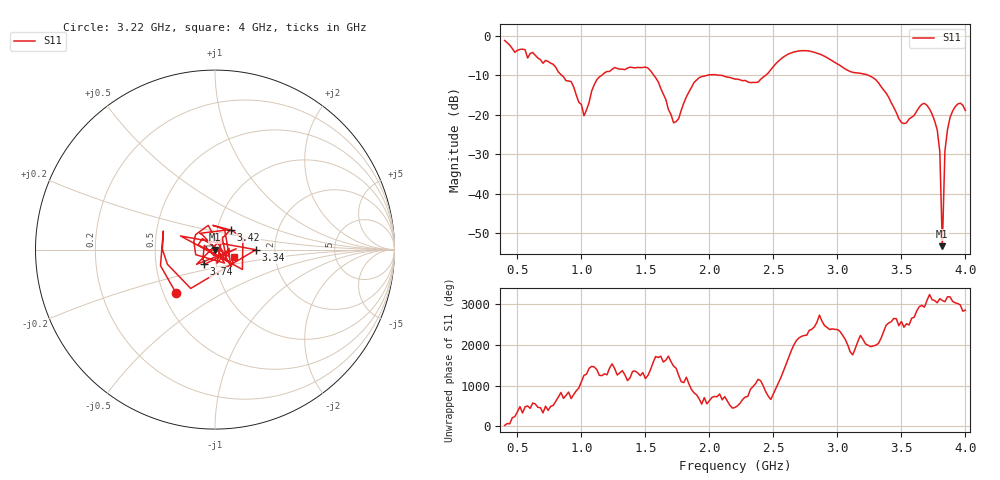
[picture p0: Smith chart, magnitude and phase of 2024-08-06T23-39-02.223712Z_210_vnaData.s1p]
!Created with skrf (http://scikit-rf.org).
# Hz S RI R 50.0
!freq ReS11 ImS11
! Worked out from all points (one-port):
!   181 points, 400 MHz to 4 GHz, reference 50 ohm
!   lowest |S11| = -53.3 dB at 3.82 GHz (marker M1), VSWR 1.00, Z = 49.8 - j0.127 ohm
!   |S11| at or under -10 dB: 1.566 GHz to 1.985 GHz (418.9 MHz wide, 23.6 % of centre); 2.073 GHz to 2.44 GHz (367.3 MHz wide, 16.3 % of centre); 3.241 GHz to end of sweep (the widest 3 of 4)
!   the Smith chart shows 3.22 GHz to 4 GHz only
!   S11 on the Smith chart (normalised r, x): 3.22 GHz: 0.58, -0.31; 3.34 GHz: 1.59, -0.00; 3.42 GHz: 1.16, +0.27; 3.74 GHz: 0.88, -0.15; 4 GHz: 1.23, -0.10
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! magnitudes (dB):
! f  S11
! 400 MHz  -1.2
! 860 MHz  -10.4
! 920 MHz  -11.6
! 1.02 GHz  -20.3
! 1.12 GHz  -11.1
! 1.3 GHz  -8.5
! 1.52 GHz  -8.2
! 1.72 GHz  -22.0
! 1.76 GHz  -21.0
! 1.92 GHz  -10.6
! 2.2 GHz  -11.0
! 2.38 GHz  -11.8
! 2.66 GHz  -4.1
! 3.1 GHz  -9.1
! 3.22 GHz  -9.8
! 3.34 GHz  -12.8
! 3.42 GHz  -16.9
! 3.5 GHz  -22.0
! 3.56 GHz  -21.1
! 3.68 GHz  -17.1
! 3.74 GHz  -19.9
! 3.78 GHz  -23.9
! 3.8 GHz  -29.3
! 3.82 GHz  -53.3
! 3.84 GHz  -29.2
! 3.86 GHz  -23.8
! 3.92 GHz  -18.0
! 4 GHz  -18.9
